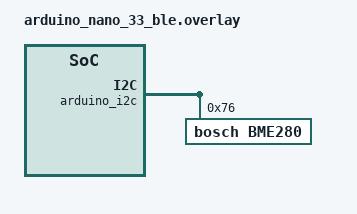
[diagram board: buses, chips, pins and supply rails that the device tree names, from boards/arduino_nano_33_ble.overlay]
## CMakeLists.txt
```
cmake_minimum_required(VERSION 3.20.0)

set(BOARD arduino_nano_33_ble)

find_package(Zephyr REQUIRED HINTS $ENV{ZEPHYR_BASE})
project(soia_weather_station_firmware)

target_sources(app PRIVATE 
    src/bmp280.c
    src/bluetooth.c
    src/main.c
)
```

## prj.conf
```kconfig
CONFIG_BT_DEVICE_NAME="SOiA Weather Station"

CONFIG_LOG=y
CONFIG_LOG_PRINTK=y
CONFIG_USE_SEGGER_RTT=n
CONFIG_LOG_BACKEND_UART=y
CONFIG_LOG_DEFAULT_LEVEL=3

CONFIG_BT=y
CONFIG_BT_PERIPHERAL=y
CONFIG_BT_DEVICE_APPEARANCE=0
CONFIG_BT_MAX_CONN=1

CONFIG_SERIAL=y
CONFIG_UART_CONSOLE=y

CONFIG_SENSOR=y
CONFIG_I2C=y
CONFIG_BME280=y

CONFIG_ASSERT=y
```

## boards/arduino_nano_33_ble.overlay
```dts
&arduino_i2c {
	status = "okay";
	bme280@76 {
		/* 0x76 - SDO <-> GND */
		/* 0x77 - SDO <-> VCC */
		compatible = "bosch,bme280";
		reg = <0x76>;
	};
};
```

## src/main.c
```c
#ifndef KERNEL_H
    #define KERNEL_H
    #include <zephyr/kernel.h>
#endif

#ifndef LOG_H
    #define LOG_H
    #include <zephyr/logging/log.h>
#endif

#include "bmp280.h"
#include "bluetooth.h"

#define LOG_MODULE_NAME app
#define SLEEP_TIME 3000

LOG_MODULE_REGISTER(LOG_MODULE_NAME);

void main(void) {
    const struct device *bmp280 = get_bmp280_device();
    int32_t *readings;

    LOG_INF("Starting bluetooth...", NULL);
    start_bluetooth();
    LOG_INF("Bluetooth started", NULL);

    while (true) {
        k_sleep(K_MSEC(SLEEP_TIME));
        readings = get_sensor_readings(bmp280);
        update(TEMP, readings[0]);
        update(PRESS, readings[1]);
    }
    
}
```

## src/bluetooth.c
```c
#include "bluetooth.h"

#define LOG_MODULE_NAME bluetooth
LOG_MODULE_REGISTER(LOG_MODULE_NAME);

static const struct bt_data ad[] = {
    BT_DATA_BYTES(BT_DATA_FLAGS, (BT_LE_AD_GENERAL | BT_LE_AD_NO_BREDR)),
    BT_DATA(BT_DATA_NAME_COMPLETE, DEVICE_NAME, DEVICE_NAME_LEN)
};

static const struct bt_data sd[] = {
    BT_DATA_BYTES(BT_DATA_UUID128_ALL, BT_UUID_WEATHER_SERVICE_VAL)
};

static struct bt_conn *current_conn;

static K_SEM_DEFINE(bt_init_ok, 0, 1)

void on_connected(struct bt_conn *conn, uint8_t err);
void on_disconnected(struct bt_conn *conn, uint8_t reason);
void temp_chrc_ccc_cfg_changed(const struct bt_gatt_attr *attr, uint16_t value);
void press_chrc_ccc_cfg_changed(const struct bt_gatt_attr *attr, uint16_t value);

struct bt_conn_cb bt_callbacks = {
	.connected = on_connected,
	.disconnected = on_disconnected
};

static bool temp_notify;
static bool press_notify;

BT_GATT_SERVICE_DEFINE(weather_srv, 

    // ***** TEMP *****
    BT_GATT_PRIMARY_SERVICE(BT_UUID_WEATHER_SERVICE),
    BT_GATT_CHARACTERISTIC(BT_UUID_TEMP_CHRC,
        BT_GATT_CHRC_READ | BT_GATT_CHRC_NOTIFY,
        BT_GATT_PERM_READ,
        NULL, NULL, NULL
    ),
    BT_GATT_CCC(temp_chrc_ccc_cfg_changed, BT_GATT_PERM_READ | BT_GATT_PERM_WRITE),

    // ***** PRESS *****
    BT_GATT_CHARACTERISTIC(BT_UUID_PRESS_CHRC,
        BT_GATT_CHRC_READ | BT_GATT_CHRC_NOTIFY,
        BT_GATT_PERM_READ,
        NULL, NULL, NULL
    ),
    BT_GATT_CCC(press_chrc_ccc_cfg_changed, BT_GATT_PERM_READ | BT_GATT_PERM_WRITE)
);

void temp_chrc_ccc_cfg_changed(const struct bt_gatt_attr *attr, uint16_t value) {
    ARG_UNUSED(attr);
    if (value == BT_GATT_CCC_NOTIFY) {
        temp_notify = true;
        LOG_INF("Temperature notifications enabled", NULL);
    } 
    else {
        temp_notify = false;
        LOG_INF("Temperature notifications disabled", NULL);
    }
}

void press_chrc_ccc_cfg_changed(const struct bt_gatt_attr *attr, uint16_t value) {
    ARG_UNUSED(attr);
    if (value == BT_GATT_CCC_NOTIFY) {
        press_notify = true;
        LOG_INF("Pressure notifications enabled", NULL);
    } 
    else {
        press_notify = false;
        LOG_INF("Pressure notifications disabled", NULL);
    }
}

void on_connected(struct bt_conn *conn, uint8_t err) {
	if(err) {
		LOG_ERR("Connection error: %d", err);
		return;
	}
	LOG_INF("Connected", NULL);
	current_conn = bt_conn_ref(conn);
}

void on_disconnected(struct bt_conn *conn, uint8_t reason) {
	LOG_INF("Disconnected (reason: %d)", reason);
	if(current_conn) {
		bt_conn_unref(current_conn);
		current_conn = NULL;
	}
}

void on_sent_temp(struct bt_conn *conn, void *user_data) {
    ARG_UNUSED(conn);
    ARG_UNUSED(user_data);
    LOG_INF("Temperature notification sent", NULL);
}

void on_sent_press(struct bt_conn *conn, void *user_data) {
    ARG_UNUSED(conn);
    ARG_UNUSED(user_data);
    LOG_INF("Pressure notification sent", NULL);
}

int send_notification(struct bt_conn *conn, int32_t value, enum notification_type type) {
    int err = 0;

    if (type == TEMP && temp_notify == false) {
        return err;
    }
    if (type == PRESS && press_notify == false) {
        return err;
    }

    struct bt_gatt_notify_params params = {0};
    const struct bt_gatt_attr *attr;
    if (type == TEMP) {
        attr = &weather_srv.attrs[2]; //Why 2?
        params.attr = attr;
        params.func = on_sent_temp;
    } 
    else {
        attr = &weather_srv.attrs[5]; //Why 5?
        params.attr = attr;
        params.func = on_sent_press;
    }
    params.data = &value;
    params.len = 4;

    err = bt_gatt_notify_cb(conn, &params);

    return err;
}

void bt_ready(int err) {
    if (err) {
        LOG_ERR("bt_enable returned: %d", err);
    }
    k_sem_give(&bt_init_ok);
}

int bt_init(struct bt_conn_cb *bt_cb) {
    int err = 0;

    temp_notify = false;
    press_notify = false;

    bt_conn_cb_register(bt_cb);
    err = bt_enable(bt_ready);
    if (err) {
        return err;
    }
    
    k_sem_take(&bt_init_ok, K_FOREVER);

    err = bt_le_adv_start(BT_LE_ADV_CONN, ad, ARRAY_SIZE(ad), sd, ARRAY_SIZE(sd));
    if (err) {
        LOG_ERR("Couldn't start advertising, error: %d", err);
    }

    return err;
}

int update(enum notification_type type, int32_t value) {
    int err = 0;
    err = send_notification(current_conn, value, type);
    if (err) {
        LOG_ERR("Couldn't update, error: %d", err);
    }
    return err;
}

int start_bluetooth(void) {
    int err = 0;
    err = bt_init(&bt_callbacks);
    if (err) {
        LOG_ERR("Couldn't start bluetooth, error: %d", err);
    }
    return err;
}
```

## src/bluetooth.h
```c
#ifndef KERNEL_H
    #define KERNEL_H
    #include <zephyr/kernel.h>
#endif

#ifndef LOG_H
    #define LOG_H
    #include <zephyr/logging/log.h>
#endif

#include <zephyr/bluetooth/bluetooth.h>
#include <zephyr/bluetooth/uuid.h>
#include <zephyr/bluetooth/gatt.h>
#include <zephyr/bluetooth/hci.h>

#ifndef AUTOCONF_H
    #define AUTOCONF_H
    #include <autoconf.h>
#endif

#define BT_UUID_WEATHER_SERVICE_VAL \
    BT_UUID_128_ENCODE(0x2c2a0001, 0x7212, 0x443e, 0x8b37, 0xc0ab864d7c26)
#define BT_UUID_WEATHER_SERVICE BT_UUID_DECLARE_128(BT_UUID_WEATHER_SERVICE_VAL)

#define BT_UUID_TEMP_CHRC_VAL \
    BT_UUID_128_ENCODE(0x2c2a0002, 0x7212, 0x443e, 0x8b37, 0xc0ab864d7c26)
#define BT_UUID_TEMP_CHRC BT_UUID_DECLARE_128(BT_UUID_TEMP_CHRC_VAL)

#define BT_UUID_PRESS_CHRC_VAL \
    BT_UUID_128_ENCODE(0x2c2a0003, 0x7212, 0x443e, 0x8b37, 0xc0ab864d7c26)
#define BT_UUID_PRESS_CHRC BT_UUID_DECLARE_128(BT_UUID_PRESS_CHRC_VAL)

#define DEVICE_NAME CONFIG_BT_DEVICE_NAME
#define DEVICE_NAME_LEN (sizeof(DEVICE_NAME)-1)

enum notification_type {
    TEMP,
    PRESS
};

int update(enum notification_type type, int32_t value);

int start_bluetooth(void);
```

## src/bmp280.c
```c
#include "bmp280.h"

#define LOG_MODULE_NAME bmp280
LOG_MODULE_REGISTER(LOG_MODULE_NAME);

const struct device *get_bmp280_device(void) {
	const struct device *dev = DEVICE_DT_GET_ANY(bosch_bme280); //Intellisense error?
	if (dev == NULL) {
		LOG_ERR("No BMP280 device found", NULL);
		return NULL;
	}
	if (!device_is_ready(dev)) {
		LOG_ERR("Device \"%s\" is not ready", dev->name);
		return NULL;
	}

	LOG_INF("Found device \"%s\", getting sensor data", dev->name);
	return dev;
}

int32_t *get_sensor_readings(struct device *dev) {
	struct sensor_value temp, press;
	int32_t press_frac, temp_frac;
	static int32_t readings[2] = {0, 0};
	int err;

	err = sensor_sample_fetch(dev);
	if (err) {
		LOG_ERR("Couldn't fetch sample data, error: %d", err);
		return readings;
	}
	err = sensor_channel_get(dev, SENSOR_CHAN_AMBIENT_TEMP, &temp);
	if (err) {
		LOG_ERR("Couldn't read temperature, error: %d", err);
		return readings;
	}
	err = sensor_channel_get(dev, SENSOR_CHAN_PRESS, &press);
	if (err) {
		LOG_ERR("Couldn't read pressure, error: %d", err);
		return readings;
	}

	//Unit conversion, result / 10 = value in degress C
	readings[0] = temp.val1;
	readings[0] *= 10;
	temp_frac = temp.val2;
	if (temp_frac >= 100000) {
		readings[0] += (temp_frac / 100000);
	}

	//Unit conversion, result / 10 = value in hPa
	readings[1] = press.val1;
	readings[1] *= 100;
	press_frac = press.val2;
	if (press_frac >= 10000) {
		readings[1] += (press_frac / 10000);
	}

	LOG_INF("Temperature: %d (result / 10 = value in degress C)", readings[0]);
	LOG_INF("Pressure: %d (result / 10 = value in hPa)", readings[1]);

	return readings;
}
```

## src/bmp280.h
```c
#ifndef KERNEL_H
    #define KERNEL_H
    #include <zephyr/kernel.h>
#endif

#ifndef LOG_H
    #define LOG_H
    #include <zephyr/logging/log.h>
#endif

#include <zephyr/device.h>
#include <zephyr/devicetree.h>
#include <zephyr/drivers/sensor.h>

const struct device *get_bmp280_device(void);
int32_t *get_sensor_readings(struct device *dev);
```
